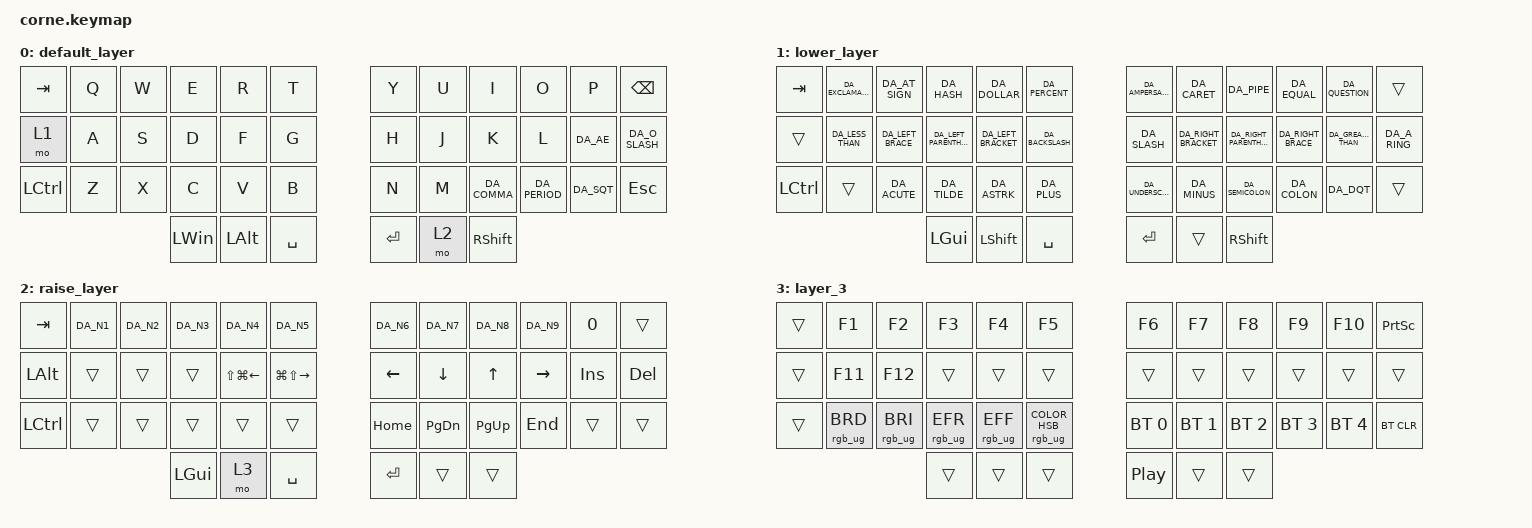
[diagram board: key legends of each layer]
/*
 * Copyright (c) 2020 The ZMK Contributors
 *
 * SPDX-License-Identifier: MIT
 */

#include "keys_da.h"
#include <behaviors.dtsi>
#include <dt-bindings/zmk/bt.h>
#include <dt-bindings/zmk/keys.h>
#include <dt-bindings/zmk/rgb.h>

&led_strip {
    chain-length = <27>;

    // 21 backlight + 6 glowlight
};

/ {
    keymap {
        compatible = "zmk,keymap";

        default_layer {
            // -----------------------------------------------------------------------------------------
            // |  TAB |  Q  |  W  |  E  |  R  |  T  |   |  Y  |  U   |  I  |  O  |  P  | BKSP |
            // | CTRL |  A  |  S  |  D  |  F  |  G  |   |  H  |  J   |  K  |  L  |  ;  |  '   |
            // | SHFT |  Z  |  X  |  C  |  V  |  B  |   |  N  |  M   |  ,  |  .  |  /  | ESC  |
            //                    | GUI | LWR | SPC |   | ENT | RSE  | ALT |

            bindings = <
&kp TAB    &kp Q  &kp W  &kp E         &kp R         &kp T        &kp Y    &kp U  &kp I            &kp O          &kp P       &kp BSPC
&mo 1      &kp A  &kp S  &kp D         &kp F         &kp G        &kp H    &kp J  &kp K            &kp L          &kp DA_AE   &kp DA_O_SLASH
&kp LCTRL  &kp Z  &kp X  &kp C         &kp V         &kp B        &kp N    &kp M  &kp DA_COMMA     &kp DA_PERIOD  &kp DA_SQT  &kp ESC
                         &kp LEFT_WIN  &kp LEFT_ALT  &kp SPACE    &kp RET  &mo 2  &kp RIGHT_SHIFT
            >;
        };

        lower_layer {
            // -----------------------------------------------------------------------------------------
            // |  TAB |  1  |  2  |  3  |  4  |  5  |   |  6  |  7  |  8  |  9  |  0  | BKSP |
            // | BTCLR| BT1 | BT2 | BT3 | BT4 | BT5 |   | LFT | DWN |  UP | RGT |     |      |
            // | SHFT |     |     |     |     |     |   |     |     |     |     |     |      |
            //                    | GUI |     | SPC |   | ENT |     | ALT |

            bindings = <
&kp TAB    &kp DA_EXCLAMATION  &kp DA_AT_SIGN     &kp DA_HASH              &kp DA_DOLLAR        &kp DA_PERCENT      &kp DA_AMPERSAND   &kp DA_CARET          &kp DA_PIPE               &kp DA_EQUAL        &kp DA_QUESTION      &trans
&trans     &kp DA_LESS_THAN    &kp DA_LEFT_BRACE  &kp DA_LEFT_PARENTHESIS  &kp DA_LEFT_BRACKET  &kp DA_BACKSLASH    &kp DA_SLASH       &kp DA_RIGHT_BRACKET  &kp DA_RIGHT_PARENTHESIS  &kp DA_RIGHT_BRACE  &kp DA_GREATER_THAN  &kp DA_A_RING
&kp LCTRL  &trans              &kp DA_ACUTE       &kp DA_TILDE             &kp DA_ASTRK         &kp DA_PLUS         &kp DA_UNDERSCORE  &kp DA_MINUS          &kp DA_SEMICOLON          &kp DA_COLON        &kp DA_DQT           &trans
                                                  &kp LGUI                 &kp LSHFT            &kp SPACE           &kp ENTER          &trans                &kp RIGHT_SHIFT
            >;
        };

        raise_layer {
            // -----------------------------------------------------------------------------------------
            // |  TAB |  !  |  @  |  #  |  $  |  %  |   |  ^  |  &  |  *  |  (  |  )  | BKSP |
            // | CTRL |     |     |     |     |     |   |  -  |  =  |  [  |  ]  |  \  |  `   |
            // | SHFT |     |     |     |     |     |   |  _  |  +  |  {  |  }  | "|" |  ~   |
            //                    | GUI |     | SPC |   | ENT |     | ALT |

            bindings = <
&kp TAB       &kp DA_N1  &kp DA_N2  &kp DA_N3  &kp DA_N4         &kp DA_N5            &kp DA_N6       &kp DA_N7       &kp DA_N8    &kp DA_N9        &kp N0   &trans
&kp LEFT_ALT  &trans     &trans     &trans     &kp LS(LG(LEFT))  &kp LG(LS(RIGHT))    &kp LEFT_ARROW  &kp DOWN_ARROW  &kp UP       &kp RIGHT_ARROW  &kp INS  &kp DELETE
&kp LCTRL     &trans     &trans     &trans     &trans            &trans               &kp HOME        &kp PAGE_DOWN   &kp PAGE_UP  &kp END          &trans   &trans
                                    &kp LGUI   &mo 3             &kp SPACE            &kp RET         &trans          &trans
            >;
        };

        layer_3 {
            bindings = <
&trans  &kp F1           &kp F2           &kp F3           &kp F4           &kp F5                           &kp F6            &kp F7        &kp F8        &kp F9        &kp F10       &kp PRINTSCREEN
&trans  &kp F11          &kp F12          &trans           &trans           &trans                           &trans            &trans        &trans        &trans        &trans        &trans
&trans  &rgb_ug RGB_BRD  &rgb_ug RGB_BRI  &rgb_ug RGB_EFR  &rgb_ug RGB_EFF  &rgb_ug RGB_COLOR_HSB(0,0,79)    &bt BT_SEL 0      &bt BT_SEL 1  &bt BT_SEL 2  &bt BT_SEL 3  &bt BT_SEL 4  &bt BT_CLR
                                          &trans           &trans           &trans                           &kp C_PLAY_PAUSE  &trans        &trans
            >;
        };
    };
};
